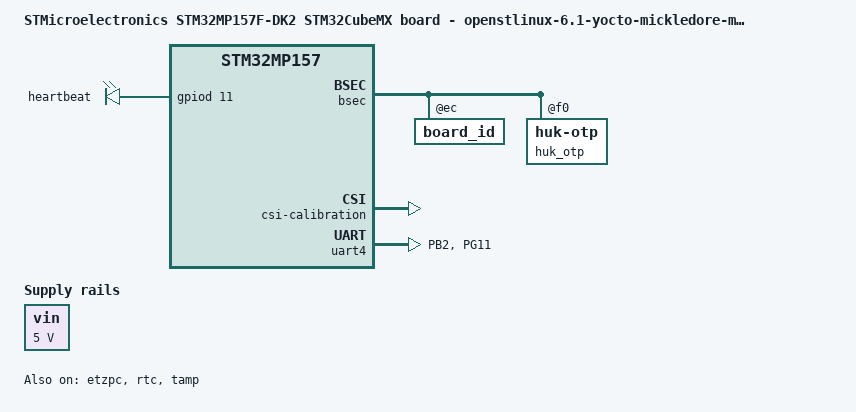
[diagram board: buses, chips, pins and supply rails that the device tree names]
// SPDX-License-Identifier: (GPL-2.0-or-later OR BSD-3-Clause)
/*
 * Copyright (C) 2024, STMicroelectronics - All Rights Reserved
 * Author: STM32CubeMX code generation for STMicroelectronics.
 */

/* For more information on Device Tree configuration, please refer to
 * https://wiki.st.com/stm32mpu/wiki/Category:Device_tree_configuration
 */

/dts-v1/;
#include <dt-bindings/pinctrl/stm32-pinfunc.h>
#include <dt-bindings/clock/stm32mp1-clksrc.h>
#include <dt-bindings/soc/stm32mp15-etzpc.h>

#include "stm32mp157.dtsi"
#include "stm32mp15xf.dtsi"
#include "stm32mp15xxac-pinctrl.dtsi"

/* USER CODE BEGIN includes */
#include <dt-bindings/gpio/stm32mp_gpio.h>
#include <dt-bindings/power/stm32mp1-power.h>
#include <dt-bindings/mfd/st,stpmic1.h>
/* USER CODE END includes */

/ {
	model = "STMicroelectronics STM32MP157F-DK2 STM32CubeMX board - openstlinux-6.1-yocto-mickledore-mp1-v23.06.21";
	compatible = "st,stm32mp157f-multiinputtesting-mx", "st,stm32mp157f-dk2", "st,stm32mp157";

	/* !!! log : Warning - no DDR config found: 'memory' node not generated  !!! */

	/*
	memory@??? {
		reg = < ??? >;
	};
	*/

	reserved-memory {
		#address-cells = <1>;
		#size-cells = <1>;
		ranges;

		/* USER CODE BEGIN reserved-memory */

		mcuram2:mcuram2@10000000{
			compatible = "shared-dma-pool";
			reg = <0x10000000 0x40000>;
			no-map;
		};

		vdev0vring0:vdev0vring0@10040000{
			compatible = "shared-dma-pool";
			reg = <0x10040000 0x1000>;
			no-map;
		};

		vdev0vring1:vdev0vring1@10041000{
			compatible = "shared-dma-pool";
			reg = <0x10041000 0x1000>;
			no-map;
		};

		vdev0buffer:vdev0buffer@10042000{
			compatible = "shared-dma-pool";
			reg = <0x10042000 0x4000>;
			no-map;
		};

		mcuram:mcuram@30000000{
			compatible = "shared-dma-pool";
			reg = <0x30000000 0x40000>;
			no-map;
		};

		retram:retram@38000000{
			compatible = "shared-dma-pool";
			reg = <0x38000000 0x10000>;
			no-map;
		};

		gpu_reserved:gpu@d4000000{
			reg = <0xd4000000 0x4000000>;
			no-map;
		};
		/* USER CODE END reserved-memory */
	};

	/* USER CODE BEGIN root */

	aliases{
		serial0 = &uart4;
		serial1 = &usart3;
		serial2 = &uart7;
		serial3 = &usart2;
	};

	led{
		compatible = "gpio-leds";

		led-blue{
			label = "heartbeat";
			gpios = <&gpiod 11 GPIO_ACTIVE_HIGH>;
			linux,default-trigger = "heartbeat";
			default-state = "off";
		};
	};

	vin:vin{
		compatible = "regulator-fixed";
		regulator-name = "vin";
		regulator-min-microvolt = <5000000>;
		regulator-max-microvolt = <5000000>;
		regulator-always-on;
	};

	chosen{
		stdout-path = "serial0:115200n8";
	};
	/* USER CODE END root */

	clocks {
		/* USER CODE BEGIN clocks */
		/* USER CODE END clocks */

		clk_hsi: clk-hsi {
			clock-frequency = <64000000>;

			/* USER CODE BEGIN clk_hsi */
			/* USER CODE END clk_hsi */
		};
		clk_lse: clk-lse {
			status = "disabled";

			/* USER CODE BEGIN clk_lse */
			/* USER CODE END clk_lse */
		};
		clk_hse: clk-hse {
			clock-frequency = <24000000>;

			/* USER CODE BEGIN clk_hse */
			/* USER CODE END clk_hse */
		};
	};

}; /*root*/

/*Warning: the configuration of the secured GPIOs should be added in (addons) User Section*/
&pinctrl {
	/* USER CODE BEGIN pinctrl */

	uart4_pins_mx: uart4_mx-0 {
		pins1 {
			pinmux = <STM32_PINMUX('B', 2, AF8)>; /* UART4_RX */
			bias-disable;
		};
		pins2 {
			pinmux = <STM32_PINMUX('G', 11, AF6)>; /* UART4_TX */
			bias-disable;
			drive-push-pull;
			slew-rate = <0>;
		};
	};
	/* USER CODE END pinctrl */
};

&pinctrl_z {
	/* USER CODE BEGIN pinctrl_z */
	/* USER CODE END pinctrl_z */
};

&bsec{
	status = "okay";

	/* USER CODE BEGIN bsec */

	board_id:board_id@ec{
		reg = <0xec 0x4>;
		st,non-secure-otp;
	};

	huk_otp:huk-otp@f0{
		reg = <0xf0 0x10>;
	};
	/* USER CODE END bsec */
};

&etzpc{
	status = "okay";
	st,decprot = <
	/*"Non Secured" peripherals*/
	DECPROT(STM32MP1_ETZPC_DMA1_ID, DECPROT_NS_RW, DECPROT_UNLOCK)
	DECPROT(STM32MP1_ETZPC_DMAMUX_ID, DECPROT_NS_RW, DECPROT_UNLOCK)
	/*"Secured" peripherals*/
	DECPROT(STM32MP1_ETZPC_STGENC_ID, DECPROT_S_RW, DECPROT_UNLOCK)
	/*"Mcu Isolation" peripherals*/
	DECPROT(STM32MP1_ETZPC_ADC_ID, DECPROT_MCU_ISOLATION, DECPROT_UNLOCK)
	DECPROT(STM32MP1_ETZPC_DMA2_ID, DECPROT_MCU_ISOLATION, DECPROT_UNLOCK)
	DECPROT(STM32MP1_ETZPC_TIM3_ID, DECPROT_MCU_ISOLATION, DECPROT_UNLOCK)
	DECPROT(STM32MP1_ETZPC_TIM5_ID, DECPROT_MCU_ISOLATION, DECPROT_UNLOCK)
	DECPROT(STM32MP1_ETZPC_USART3_ID, DECPROT_MCU_ISOLATION, DECPROT_UNLOCK)

	/*Restriction: following IDs are not managed  - please to use User-Section if needed:
		  STM32MP1_ETZPC_SRAMx_ID  STM32MP1_ETZPC_RETRAM_ID  STM32MP1_ETZPC_BKPSRAM_ID*/

	/* USER CODE BEGIN etzpc_decprot */
		/*STM32CubeMX generates a basic and standard configuration for ETZPC.
		Additional device configurations can be added here if needed.
		"etzpc" node could be also overloaded in "addons" User-Section.*/
	/* USER CODE END etzpc_decprot */
	>;

	/* USER CODE BEGIN etzpc */
	/* USER CODE END etzpc */
};

&rcc{
	status = "okay";

	/* USER CODE BEGIN rcc */
	/* USER CODE END rcc */

	st,clksrc = <
		CLK_CKPER_DISABLED
		CLK_STGEN_HSE
		CLK_UART35_PCLK1
		CLK_MPU_PLL1P
		CLK_AXI_PLL2P
		CLK_MCU_PLL3P
		CLK_RTC_HSE
		CLK_MCO1_DISABLED
		CLK_MCO2_DISABLED
	>;
	st,clkdiv = <
		DIV(DIV_MPU, 1)
		DIV(DIV_AXI, 0)
		DIV(DIV_MCU, 0)
		DIV(DIV_APB1, 1)
		DIV(DIV_APB2, 1)
		DIV(DIV_APB3, 1)
		DIV(DIV_APB4, 1)
		DIV(DIV_APB5, 2)
		DIV(DIV_RTC, 23)
		DIV(DIV_MCO1, 0)
		DIV(DIV_MCO2, 0)
	>;
	st,pll_vco {
		pll2_vco_1066Mhz: pll2-vco-1066Mhz {
			src = < CLK_PLL12_HSE >;
			divmn = < 2 65 >;
			frac = < 0x1400 >;
		};
		pll3_vco_450Mhz: pll3-vco-450Mhz {
			src = < CLK_PLL3_HSI >;
			divmn = < 3 27 >;
			frac = < 0x400 >;
		};
		pll4_vco_96000000Mhz: pll4-vco-96000000Mhz {
			src = < 0 >;
			divmn = < 3 98 >;
		};
		/* USER CODE BEGIN rcc_st-pll_vco */

		pll4_vco_600Mhz:pll4-vco-600Mhz{
			src = <CLK_PLL4_HSE>;
			divmn = <3 98>;
		};
		/* USER CODE END rcc_st-pll_vco */
	};

	pll2:st,pll@1 {
		compatible = "st,stm32mp1-pll";
		reg = <1>;

		st,pll = < &pll2_cfg1 >;

		pll2_cfg1: pll2_cfg1 {
			st,pll_vco = < &pll2_vco_1066Mhz >;
			st,pll_div_pqr = < 1 0 0 >;
		};
		/* USER CODE BEGIN pll2 */
		/* USER CODE END pll2 */
	};

	pll3:st,pll@2 {
		compatible = "st,stm32mp1-pll";
		reg = <2>;

		st,pll = < &pll3_cfg1 >;

		pll3_cfg1: pll3_cfg1 {
			st,pll_vco = < &pll3_vco_450Mhz >;
			st,pll_div_pqr = < 4 1 36 >;
		};
		/* USER CODE BEGIN pll3 */
		/* USER CODE END pll3 */
	};

	pll4:st,pll@3 {
		compatible = "st,stm32mp1-pll";
		reg = <3>;

		st,pll = < &pll4_cfg1 >;

		pll4_cfg1: pll4_cfg1 {
			st,pll_vco = < &pll4_vco_96000000Mhz >;
			st,pll_div_pqr = < 5 7 7 >;
		};
		/* USER CODE BEGIN pll4 */
		/* USER CODE END pll4 */
	};

};

&rtc{
	status = "okay";

	/* USER CODE BEGIN rtc */
	/* USER CODE END rtc */
};

&tamp{
	status = "okay";

	/* USER CODE BEGIN tamp */
	/* USER CODE END tamp */
};

/* USER CODE BEGIN addons */

&gpu{
	contiguous-area = <&gpu_reserved>;
};

&cpu0{
	cpu-supply = <&vddcore>;
};

&cpu1{
	cpu-supply = <&vddcore>;
};

&osc_calibration{

	csi-calibration{
		status = "okay";
	};

	hsi-calibration{
		status = "okay";
	};
};

&usbphyc_port0{
	phy-supply = <&vdd_usb>;
	st,tune-hs-dc-level = <2>;
	st,enable-fs-rftime-tuning;
	st,enable-hs-rftime-reduction;
	st,trim-hs-current = <15>;
	st,trim-hs-impedance = <1>;
	st,tune-squelch-level = <3>;
	st,tune-hs-rx-offset = <2>;
	st,no-lsfs-sc;
};

&usbphyc_port1{
	phy-supply = <&vdd_usb>;
	st,tune-hs-dc-level = <2>;
	st,enable-fs-rftime-tuning;
	st,enable-hs-rftime-reduction;
	st,trim-hs-current = <15>;
	st,trim-hs-impedance = <1>;
	st,tune-squelch-level = <3>;
	st,tune-hs-rx-offset = <2>;
	st,no-lsfs-sc;
};


&uart4{
	pinctrl-names = "default";
	pinctrl-0 = <&uart4_pins_mx>;
	status = "okay";
};
/* USER CODE END addons */

